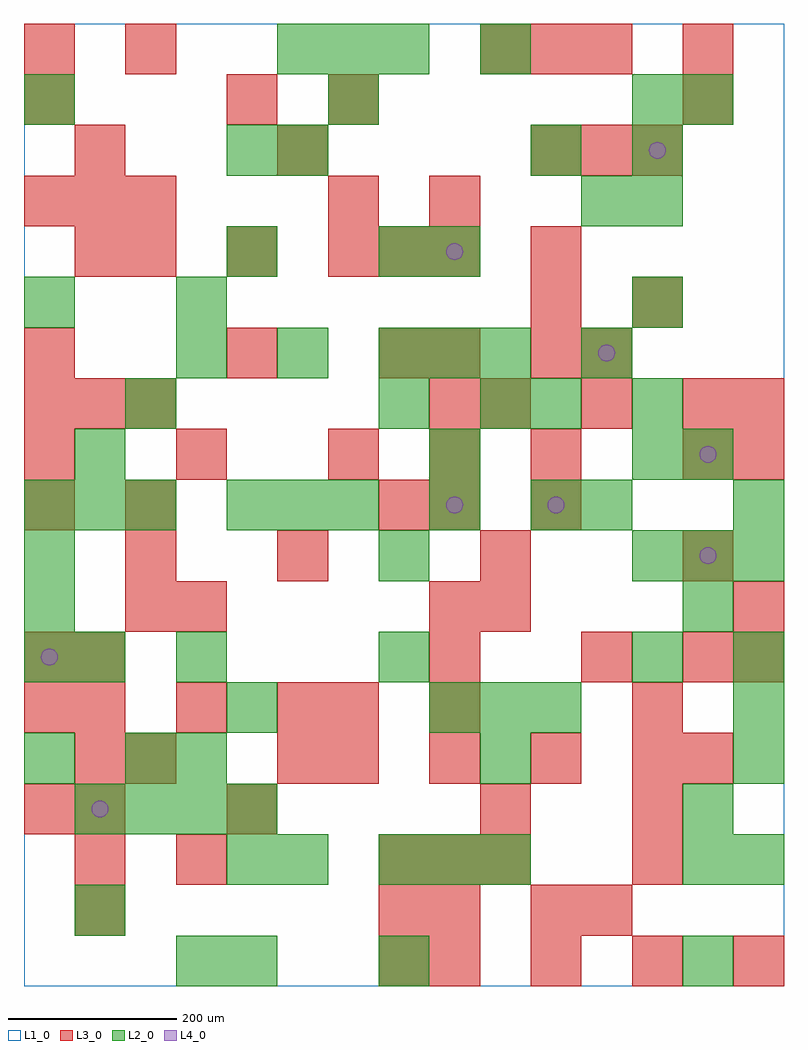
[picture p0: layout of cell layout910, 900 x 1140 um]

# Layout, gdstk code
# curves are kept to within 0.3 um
import gdstk
lib = gdstk.Library(unit=1e-6, precision=1e-09)
def R(c, l, rs):  # rectangles x0, y0, x1, y1
    for r in rs: c.add(gdstk.rectangle(r[:2], r[2:], *l))
def A(c, l, x, y, w, h, nx, ny, dx, dy):  # array of equal rectangles
    R(c, l, [(x+i*dx, y+j*dy, x+i*dx+w, y+j*dy+h) for i in range(nx) for j in range(ny)])
def P(c, l, *ps):  # polygons
    for p in ps: c.add(gdstk.Polygon(p, *l))
L1_0 = (1, 0)
L2_0 = (2, 0)
L3_0 = (3, 0)
L4_0 = (4, 0)

layout910 = lib.new_cell('layout910')
R(layout910, L1_0, [(0,0,900,1140)])
A(layout910, L2_0, 420, 120, 60, 60, 3, 1, 60, 0)
A(layout910, L2_0, 60, 180, 60, 60, 4, 1, 60, 0)
A(layout910, L2_0, 840, 240, 60, 60, 1, 3, 0, 60)
A(layout910, L2_0, 480, 300, 60, 60, 3, 1, 60, 0)
A(layout910, L2_0, 0, 360, 60, 60, 1, 3, 0, 60)
A(layout910, L2_0, 420, 480, 60, 60, 1, 3, 0, 180)
A(layout910, L2_0, 720, 480, 60, 60, 3, 1, 60, 0)
A(layout910, L2_0, 0, 540, 60, 60, 3, 1, 60, 0)
A(layout910, L2_0, 240, 540, 60, 60, 3, 1, 60, 0)
A(layout910, L2_0, 660, 540, 60, 60, 1, 3, 0, 180)
A(layout910, L2_0, 480, 600, 60, 60, 1, 3, 0, 120)
A(layout910, L2_0, 720, 660, 60, 60, 1, 3, 0, 120)
A(layout910, L2_0, 180, 720, 60, 60, 3, 1, 120, 0)
A(layout910, L2_0, 0, 1020, 60, 60, 3, 1, 360, 0)
A(layout910, L2_0, 300, 1080, 60, 60, 3, 1, 60, 0)
R(layout910, L2_0, [(180,0,240,60), (240,0,300,60), (420,0,480,60), (780,0,840,60), (60,60,120,120), (240,120,300,180), (300,120,360,180), (780,120,840,180), (840,120,900,180), (780,180,840,240), (0,240,60,300), (120,240,180,300), (180,240,240,300), (540,240,600,300), (240,300,300,360), (60,360,120,420), (180,360,240,420), (420,360,480,420), (720,360,780,420), (780,420,840,480), (480,540,540,600), (600,540,660,600), (840,540,900,600), (60,600,120,660), (720,600,780,660), (780,600,840,660), (120,660,180,720), (540,660,600,720), (600,660,660,720), (540,720,600,780), (0,780,60,840), (180,780,240,840), (240,840,300,900), (240,960,300,1020), (300,960,360,1020), (600,960,660,1020), (720,960,780,1020), (780,1020,840,1080), (540,1080,600,1140)])
A(layout910, L3_0, 480, 0, 60, 60, 4, 1, 120, 0)
A(layout910, L3_0, 60, 60, 60, 60, 1, 4, 0, 60)
A(layout910, L3_0, 420, 120, 60, 60, 3, 1, 60, 0)
A(layout910, L3_0, 360, 240, 60, 60, 4, 1, 120, 0)
A(layout910, L3_0, 60, 300, 60, 60, 3, 1, 120, 0)
A(layout910, L3_0, 480, 300, 60, 60, 1, 3, 0, 60)
A(layout910, L3_0, 0, 360, 60, 60, 1, 3, 0, 180)
A(layout910, L3_0, 120, 420, 60, 60, 1, 3, 0, 60)
A(layout910, L3_0, 300, 480, 60, 60, 3, 1, 240, 0)
A(layout910, L3_0, 480, 540, 60, 60, 1, 4, 0, 60)
A(layout910, L3_0, 0, 600, 60, 60, 3, 1, 180, 0)
A(layout910, L3_0, 0, 660, 60, 60, 3, 2, 60, 240)
A(layout910, L3_0, 540, 660, 60, 60, 3, 1, 120, 0)
A(layout910, L3_0, 600, 720, 60, 60, 1, 3, 0, 60)
A(layout910, L3_0, 120, 840, 60, 60, 3, 1, 120, 0)
A(layout910, L3_0, 600, 960, 60, 60, 3, 1, 60, 0)
A(layout910, L3_0, 540, 1080, 60, 60, 3, 1, 60, 0)
R(layout910, L3_0, [(420,0,480,60), (420,60,480,120), (480,60,540,120), (600,60,660,120), (660,60,720,120), (180,120,240,180), (720,120,780,180), (0,180,60,240), (240,180,300,240), (540,180,600,240), (720,180,780,240), (120,240,180,300), (300,240,360,300), (780,240,840,300), (0,300,60,360), (360,300,420,360), (720,300,780,360), (60,360,120,420), (660,360,720,420), (780,360,840,420), (840,360,900,420), (180,420,240,480), (540,420,600,480), (840,420,900,480), (420,540,480,600), (600,540,660,600), (600,600,660,660), (780,600,840,660), (840,600,900,660), (840,660,900,720), (240,720,300,780), (420,720,480,780), (660,720,720,780), (720,780,780,840), (60,840,120,900), (420,840,480,900), (480,840,540,900), (360,900,420,960), (480,900,540,960), (60,960,120,1020), (300,960,360,1020), (0,1020,60,1080), (240,1020,300,1080), (360,1020,420,1080), (780,1020,840,1080), (0,1080,60,1140), (120,1080,180,1140), (780,1080,840,1140)])
P(layout910, L4_0, [(40,390),(39.239,393.827),(37.071,397.071),(33.827,399.239),(30,400),(26.173,399.239),(22.929,397.071),(20.761,393.827),(20,390),(20.761,386.173),(22.929,382.929),(26.173,380.761),(30,380),(33.827,380.761),(37.071,382.929),(39.239,386.173)],
  [(100,210),(99.239,213.827),(97.071,217.071),(93.827,219.239),(90,220),(86.173,219.239),(82.929,217.071),(80.761,213.827),(80,210),(80.761,206.173),(82.929,202.929),(86.173,200.761),(90,200),(93.827,200.761),(97.071,202.929),(99.239,206.173)],
  [(520,570),(519.239,573.827),(517.071,577.071),(513.827,579.239),(510,580),(506.173,579.239),(502.929,577.071),(500.761,573.827),(500,570),(500.761,566.173),(502.929,562.929),(506.173,560.761),(510,560),(513.827,560.761),(517.071,562.929),(519.239,566.173)],
  [(520,870),(519.239,873.827),(517.071,877.071),(513.827,879.239),(510,880),(506.173,879.239),(502.929,877.071),(500.761,873.827),(500,870),(500.761,866.173),(502.929,862.929),(506.173,860.761),(510,860),(513.827,860.761),(517.071,862.929),(519.239,866.173)],
  [(640,570),(639.239,573.827),(637.071,577.071),(633.827,579.239),(630,580),(626.173,579.239),(622.929,577.071),(620.761,573.827),(620,570),(620.761,566.173),(622.929,562.929),(626.173,560.761),(630,560),(633.827,560.761),(637.071,562.929),(639.239,566.173)],
  [(700,750),(699.239,753.827),(697.071,757.071),(693.827,759.239),(690,760),(686.173,759.239),(682.929,757.071),(680.761,753.827),(680,750),(680.761,746.173),(682.929,742.929),(686.173,740.761),(690,740),(693.827,740.761),(697.071,742.929),(699.239,746.173)],
  [(760,990),(759.239,993.827),(757.071,997.071),(753.827,999.239),(750,1000),(746.173,999.239),(742.929,997.071),(740.761,993.827),(740,990),(740.761,986.173),(742.929,982.929),(746.173,980.761),(750,980),(753.827,980.761),(757.071,982.929),(759.239,986.173)],
  [(820,510),(819.239,513.827),(817.071,517.071),(813.827,519.239),(810,520),(806.173,519.239),(802.929,517.071),(800.761,513.827),(800,510),(800.761,506.173),(802.929,502.929),(806.173,500.761),(810,500),(813.827,500.761),(817.071,502.929),(819.239,506.173)],
  [(820,630),(819.239,633.827),(817.071,637.071),(813.827,639.239),(810,640),(806.173,639.239),(802.929,637.071),(800.761,633.827),(800,630),(800.761,626.173),(802.929,622.929),(806.173,620.761),(810,620),(813.827,620.761),(817.071,622.929),(819.239,626.173)])

lib.write_gds('layout910.gds')
